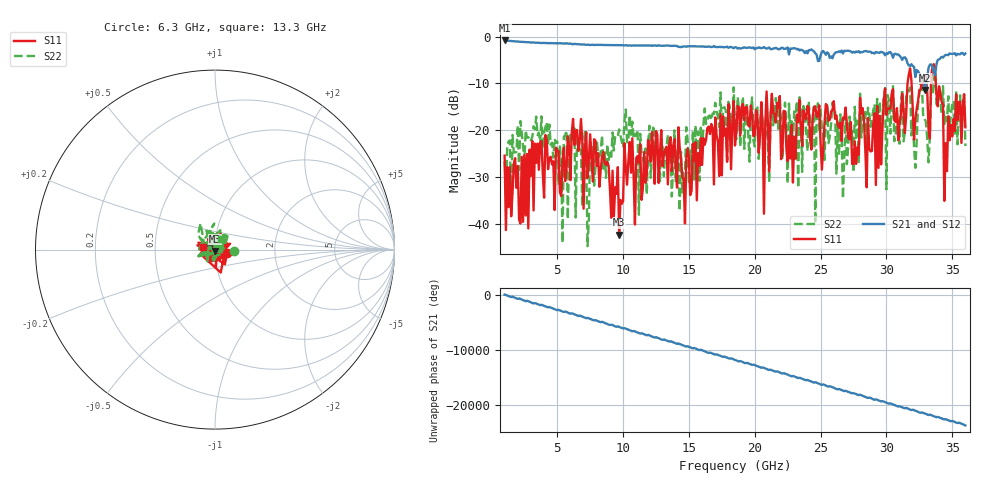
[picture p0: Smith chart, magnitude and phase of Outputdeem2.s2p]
!  2-Port S-parameters saved by WinCal
! VAR NAME=Outputdeem2 2
! VAR DATE=7/8/2025 1:03:38 PM
! VAR FILENAME=Outputdeem2.s2p
# Hz S MA R 50
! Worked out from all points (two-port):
!   351 points, 1 GHz to 36 GHz, reference 50 ohm
!   highest |S21| = -0.83 dB at 1 GHz (marker M1); lowest = -11.4 dB at 32.9 GHz (marker M2)
!   |S21| within 3 dB of the highest: start of sweep to 24.69 GHz; 26.02 GHz to 29.87 GHz (3.851 GHz wide, 13.8 % of centre) (the widest 2 of 10)
!   lowest |S11| = -42.2 dB at 9.7 GHz (marker M3), VSWR 1.02, Z = 49.8 - j0.748 ohm
!   |S11| at or under -10 dB: start of sweep to 31.6 GHz; 31.91 GHz to 32.67 GHz (757.1 MHz wide, 2.34 % of centre); 33.75 GHz to end of sweep (the widest 3 of 5)
!   |S22| runs from -44.7 to -7.2 dB; largest |S21 - S12| = 0
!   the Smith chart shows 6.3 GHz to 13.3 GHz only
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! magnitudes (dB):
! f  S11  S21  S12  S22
! 1 GHz  -25.4  -0.8  -0.8  -26.7
! 6.9 GHz  -22.2  -1.7  -1.7  -36.1
! 9.7 GHz  -42.2  -1.8  -1.8  -19.8
! 10.1 GHz  -22.8  -1.9  -1.9  -18.1
! 12.7 GHz  -31.2  -1.9  -1.9  -26.3
! 18.5 GHz  -23.2  -2.3  -2.3  -20.1
! 20.5 GHz  -14.0  -2.5  -2.5  -13.8
! 20.7 GHz  -37.8  -2.2  -2.2  -26.0
! 20.9 GHz  -11.7  -2.6  -2.6  -12.9
! 21.1 GHz  -28.8  -2.3  -2.3  -30.8
! 24.4 GHz  -17.1  -3.0  -3.0  -18.2
! 24.6 GHz  -14.9  -3.6  -3.6  -39.9
! 24.8 GHz  -16.8  -5.2  -5.2  -14.2
! 26.7 GHz  -17.3  -3.6  -3.6  -34.6
! 29.2 GHz  -31.7  -3.3  -3.3  -20.0
! 29.9 GHz  -11.1  -4.0  -4.0  -11.0
! 30 GHz  -16.7  -3.6  -3.6  -32.6
! 30.2 GHz  -15.4  -3.3  -3.3  -13.7
! 32.9 GHz  -9.2  -11.4  -11.4  -17.5
! 34.3 GHz  -14.5  -4.5  -4.5  -10.6
! 34.4 GHz  -35.1  -4.1  -4.1  -18.6
! 36 GHz  -19.4  -3.6  -3.6  -23.3
